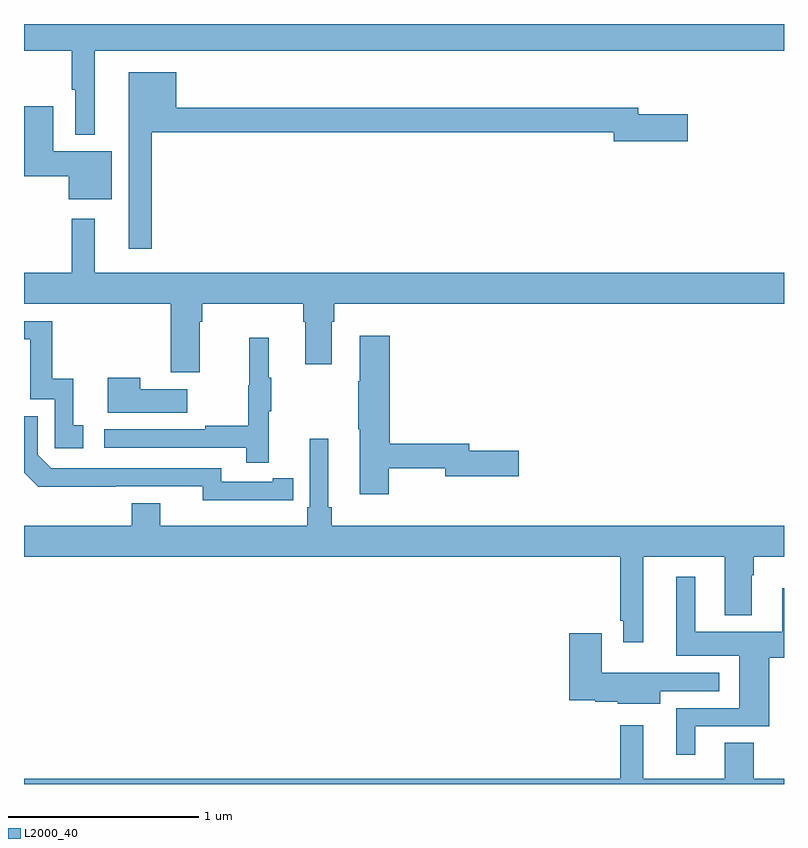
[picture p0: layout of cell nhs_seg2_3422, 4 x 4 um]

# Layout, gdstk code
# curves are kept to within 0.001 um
import gdstk
lib = gdstk.Library(unit=1e-6, precision=1e-09)
def P(c, l, *ps):  # polygons
    for p in ps: c.add(gdstk.Polygon(p, *l))
L2000_40 = (2000, 40)

nhs_seg2_3422 = lib.new_cell('nhs_seg2_3422')
P(nhs_seg2_3422, L2000_40, [(291.373,623.66),(295,623.66),(295,623.8),(291,623.8),(291,623.66),(291.252,623.66),(291.252,623.455),(291.269,623.455),(291.269,623.216),(291.373,623.216)],
  [(291.673,623.23),(294.104,623.23),(294.104,623.183),(294.493,623.183),(294.493,623.325),(294.232,623.325),(294.232,623.359),(291.802,623.359),(291.802,623.545),(291.551,623.545),(291.551,622.617),(291.673,622.617)],
  [(291.463,623.131),(291.154,623.131),(291.154,623.368),(291,623.368),(291,623),(291.236,623),(291.236,622.877),(291.463,622.877)],
  [(291.925,622.232),(291.938,622.232),(291.938,622.328),(292.469,622.328),(292.469,622.232),(292.481,622.232),(292.481,622.008),(292.621,622.008),(292.621,622.232),(292.634,622.232),(292.634,622.328),(295,622.328),(295,622.492),(291.373,622.492),(291.373,622.774),(291.252,622.774),(291.252,622.492),(291,622.492),(291,622.328),(291.773,622.328),(291.773,621.966),(291.925,621.966)],
  [(291.313,621.687),(291.26,621.687),(291.26,621.934),(291.149,621.934),(291.149,622.236),(291,622.236),(291,622.14),(291.033,622.14),(291.033,621.825),(291.162,621.825),(291.162,621.567),(291.313,621.567)],
  [(292.92,621.462),(293.216,621.462),(293.216,621.419),(293.605,621.419),(293.605,621.554),(293.344,621.554),(293.344,621.59),(292.925,621.59),(292.925,622.159),(292.766,622.159),(292.766,621.92),(292.759,621.92),(292.759,621.667),(292.766,621.667),(292.766,621.324),(292.92,621.324)],
  [(292.289,621.763),(292.3,621.763),(292.3,621.937),(292.289,621.937),(292.289,622.15),(292.186,622.15),(292.186,621.9),(292.179,621.9),(292.179,621.686),(291.955,621.686),(291.955,621.666),(291.423,621.666),(291.423,621.57),(292.171,621.57),(292.171,621.492),(292.289,621.492)],
  [(291.859,621.877),(291.611,621.877),(291.611,621.937),(291.44,621.937),(291.44,621.755),(291.859,621.755)],
  [(292.31,621.294),(292.418,621.294),(292.418,621.41),(292.31,621.41),(292.31,621.39),(292.038,621.39),(292.038,621.462),(291.144,621.462),(291.072,621.534),(291.072,621.735),(291,621.735),(291,621.438),(291.074,621.365),(291.942,621.366),(291.942,621.293)],
  [(294.259,620.996),(294.689,620.996),(294.689,620.687),(294.829,620.687),(294.829,620.9),(294.842,620.9),(294.842,620.996),(295,620.996),(295,621.16),(292.619,621.16),(292.619,621.256),(292.6,621.256),(292.6,621.616),(292.503,621.616),(292.503,621.256),(292.49,621.256),(292.49,621.16),(291.718,621.16),(291.718,621.277),(291.566,621.277),(291.566,621.16),(291,621.16),(291,620.996),(294.138,620.996),(294.138,620.659),(294.155,620.659),(294.155,620.547),(294.259,620.547)],
  [(294.532,620.103),(294.923,620.103),(294.923,620.465),(295,620.465),(295,620.83),(294.992,620.83),(294.992,620.602),(294.532,620.602),(294.532,620.89),(294.434,620.89),(294.434,620.474),(294.764,620.474),(294.764,620.199),(294.434,620.199),(294.434,619.953),(294.532,619.953)],
  [(294.349,620.289),(294.658,620.289),(294.658,620.385),(294.345,620.385),(294.345,620.386),(294.04,620.386),(294.04,620.593),(293.87,620.593),(293.87,620.24),(294.006,620.24),(294.006,620.233),(294.126,620.233),(294.126,620.222),(294.349,620.222)],
  [(295,619.828),(294.842,619.828),(294.842,620.018),(294.689,620.018),(294.689,619.828),(294.259,619.828),(294.259,620.11),(294.138,620.11),(294.138,619.828),(291,619.828),(291,619.8),(295,619.8)])

lib.write_gds('nhs_seg2_3422.gds')
